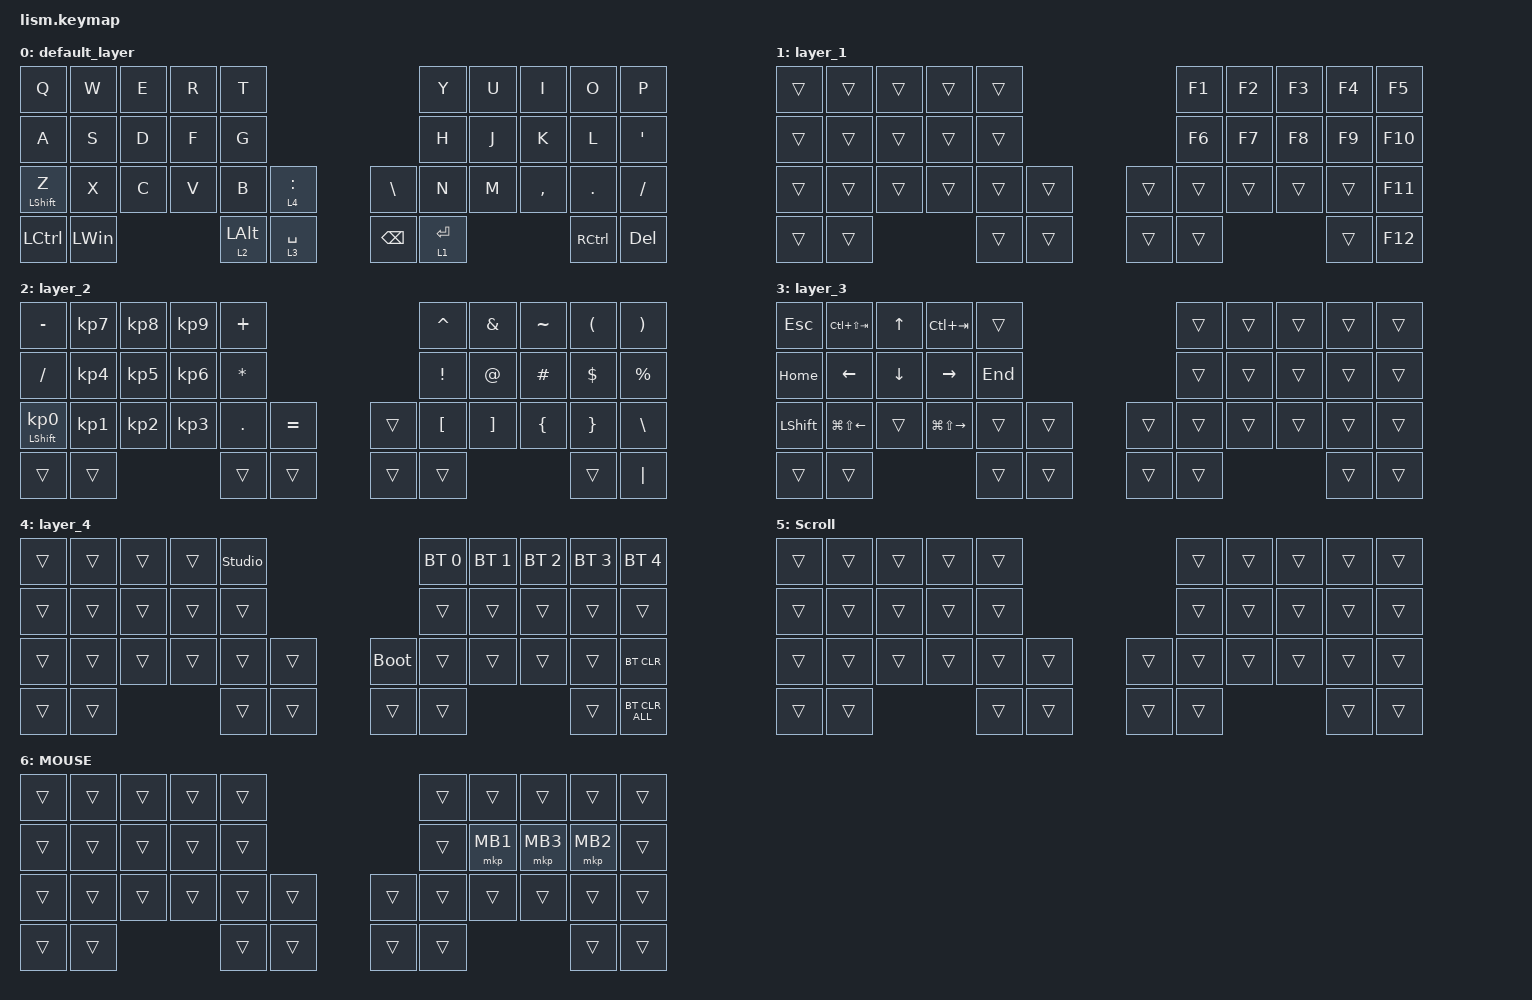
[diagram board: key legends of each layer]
#define ZMK_POINTING_DEFAULT_SCRL_VAL 100

#include <behaviors.dtsi>
#include <dt-bindings/zmk/bt.h>
#include <dt-bindings/zmk/keys.h>
#include <dt-bindings/zmk/pointing.h>
#include <dt-bindings/zmk/mouse.h>
#include <behaviors/runtime-sensor-rotate.dtsi>
#include <behaviors/default_layer.dtsi>
#include <dt-bindings/zmk_behavior_default_layer/default_layer.h>

&mt {
    tapping-term-ms = <300>;
    flavor = "balanced";
};

&lt {
    quick-tap-ms = <300>;
};


/ {
    macros {
        emoji: emoji_macro {
            compatible = "zmk,behavior-macro";
            label = "EMOJI";
            #binding-cells = <0>;
            bindings = 
                <&macro_press &kp CAPSLOCK>,
                <&macro_tap &kp E>,
                <&macro_release &kp CAPSLOCK>;
        };
    };

    combos {
        compatible = "zmk,combos";

        // 例：特定の2つのキーを同時に押したときにレイヤー5をアクティブにする
        combo_scroll_layer {
            timeout-ms = <50>;
            bindings = <&mo 5>;
            key-positions = <17 18>; // 同時に押すキーのインデックス番号を指定
            slow-release;
            require-prior-idle-ms = <130>; // 暴発を防ぎつつ、スクロールへの移行をスムーズにするために少し短め
        };
    };

    behaviors {
        encoder_kp: sensor_rotate_kp {
            compatible = "zmk,behavior-sensor-rotate-var";
            #sensor-binding-cells = <2>;
            bindings = <&kp>, <&kp>;
        };

        rsr_scrl: rsr_scrl {
            compatible = "zmk,behavior-runtime-sensor-rotate";
            #sensor-binding-cells = <0>;
            tap-ms = <20>;
            cw-binding = <&msc SCRL_DOWN>;
            ccw-binding = <&msc SCRL_UP>;
        };
    };

    keymap {
        compatible = "zmk,keymap";

        default_layer {
            bindings = <
&kp Q             &kp W      &kp E      &kp R         &kp T           &kp Y        &kp U          &kp I        &kp O              &kp P
&kp A             &kp S      &kp D      &kp F         &kp G           &kp H        &kp J          &kp K        &kp L              &kp SQT
&mt LEFT_SHIFT Z  &kp X      &kp C      &kp V         &kp B           &lt 4 COLON  &kp BACKSLASH  &kp N        &kp M              &kp COMMA
&kp DOT           &kp SLASH  &kp LCTRL  &kp LEFT_WIN  &lt 2 LEFT_ALT  &lt 3 SPACE  &kp BACKSPACE  &lt 1 ENTER  &kp RIGHT_CONTROL  &kp DEL
            >;
        };

        layer_1 {
            bindings = <
&trans  &trans   &trans  &trans  &trans  &kp F1  &kp F2  &kp F3  &kp F4  &kp F5
&trans  &trans   &trans  &trans  &trans  &kp F6  &kp F7  &kp F8  &kp F9  &kp F10
&trans  &trans   &trans  &trans  &trans  &trans  &trans  &trans  &trans  &trans
&trans  &kp F11  &trans  &trans  &trans  &trans  &trans  &trans  &trans  &kp F12
            >;
        };

        layer_2 {
            bindings = <
&kp MINUS                   &kp KP_NUMBER_7  &kp KP_NUMBER_8  &kp KP_NUMBER_9  &kp PLUS      &kp CARET        &kp AMPERSAND  &kp TILDE         &kp LEFT_PARENTHESIS  &kp RIGHT_PARENTHESIS
&kp SLASH                   &kp KP_NUMBER_4  &kp KP_NUMBER_5  &kp KP_NUMBER_6  &kp ASTERISK  &kp EXCLAMATION  &kp AT_SIGN    &kp HASH          &kp DOLLAR            &kp PERCENT
&mt LEFT_SHIFT KP_NUMBER_0  &kp KP_NUMBER_1  &kp KP_NUMBER_2  &kp KP_NUMBER_3  &kp PERIOD    &kp EQUAL        &trans         &kp LEFT_BRACKET  &kp RIGHT_BRACKET     &kp LEFT_BRACE
&kp RIGHT_BRACE             &kp BACKSLASH    &trans           &trans           &trans        &trans           &trans         &trans            &trans                &kp PIPE
            >;
        };

        layer_3 {
            bindings = <
&kp ESCAPE      &kp LC(LS(TAB))         &kp UP_ARROW    &kp LC(TAB)              &trans   &trans  &trans  &trans  &trans  &trans
&kp HOME        &kp LEFT_ARROW          &kp DOWN_ARROW  &kp RIGHT_ARROW          &kp END  &trans  &trans  &trans  &trans  &trans
&kp LEFT_SHIFT  &kp LG(LS(LEFT_ARROW))  &trans          &kp LG(LS(RIGHT_ARROW))  &trans   &trans  &trans  &trans  &trans  &trans
&trans          &trans                  &trans          &trans                   &trans   &trans  &trans  &trans  &trans  &trans
            >;
        };

        layer_4 {
            bindings = <
&trans  &trans      &trans  &trans  &studio_unlock  &bt BT_SEL 0  &bt BT_SEL 1  &bt BT_SEL 2  &bt BT_SEL 3  &bt BT_SEL 4
&trans  &trans      &trans  &trans  &trans  &trans        &trans        &trans        &trans        &trans
&trans  &trans      &trans  &trans  &trans  &trans        &bootloader   &trans        &trans        &trans
&trans  &bt BT_CLR  &trans  &trans  &trans  &trans        &trans        &trans        &trans        &bt BT_CLR_ALL
            >;
        };

        scroll_layer {
            display-name = "Scroll";
            bindings = <
&trans  &trans  &trans  &trans  &trans  &trans  &trans  &trans  &trans  &trans
&trans  &trans  &trans  &trans  &trans  &trans  &trans  &trans  &trans  &trans
&trans  &trans  &trans  &trans  &trans  &trans  &trans  &trans  &trans  &trans
&trans  &trans  &trans  &trans  &trans  &trans  &trans  &trans  &trans  &trans
            >;
        };

        MOUSE {
            bindings = <
&trans  &trans  &trans  &trans  &trans  &trans  &trans    &trans    &trans    &trans
&trans  &trans  &trans  &trans  &trans  &trans  &mkp MB1  &mkp MB3  &mkp MB2  &trans
&trans  &trans  &trans  &trans  &trans  &trans  &trans    &trans    &trans    &trans
&trans  &trans  &trans  &trans  &trans  &trans  &trans    &trans    &trans    &trans
            >;
        };
    };
};
